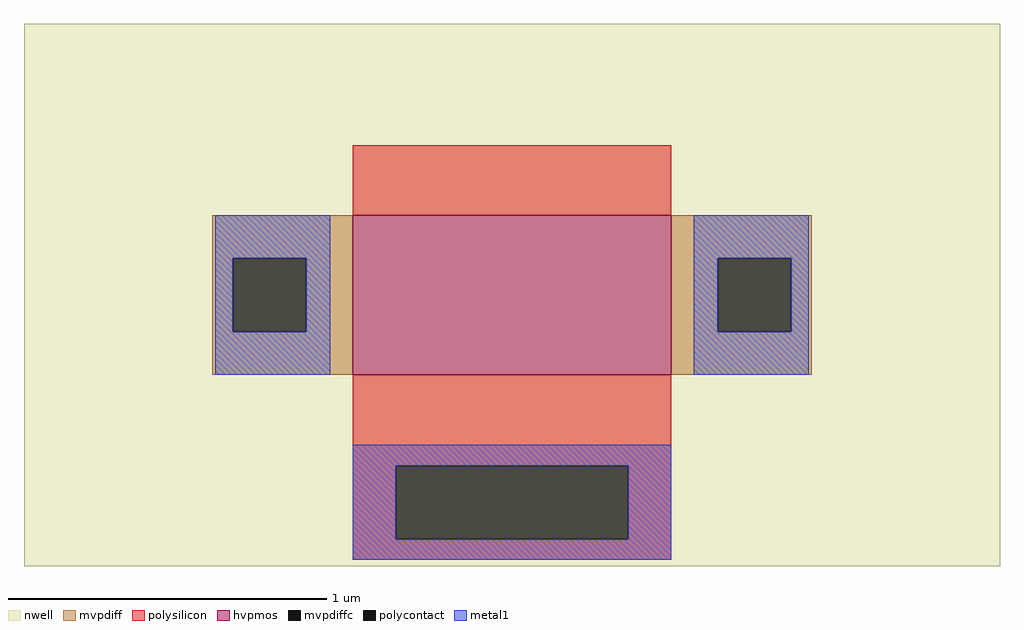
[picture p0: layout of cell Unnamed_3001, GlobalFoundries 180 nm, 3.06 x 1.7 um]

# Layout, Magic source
magic
tech gf180mcuD
magscale 1 10
<< nwell >>
rect -192 -120 420 220
<< hvpmos >>
rect 14 0 214 100
<< mvpdiff >>
rect -74 73 14 100
rect -74 27 -61 73
rect -15 27 14 73
rect -74 0 14 27
rect 214 73 302 100
rect 214 27 243 73
rect 289 27 302 73
rect 214 0 302 27
<< mvpdiffc >>
rect -61 27 -15 73
rect 243 27 289 73
<< polysilicon >>
rect 14 100 214 144
rect 14 -57 214 0
rect 14 -103 41 -57
rect 187 -103 214 -57
rect 14 -116 214 -103
<< polycontact >>
rect 41 -103 187 -57
<< metal1 >>
rect -72 73 0 100
rect -72 27 -61 73
rect -15 27 0 73
rect -72 0 0 27
rect 228 73 300 100
rect 228 27 243 73
rect 289 27 300 73
rect 228 0 300 27
rect 14 -57 214 -44
rect 14 -103 41 -57
rect 187 -103 214 -57
rect 14 -116 214 -103
<< end >>
